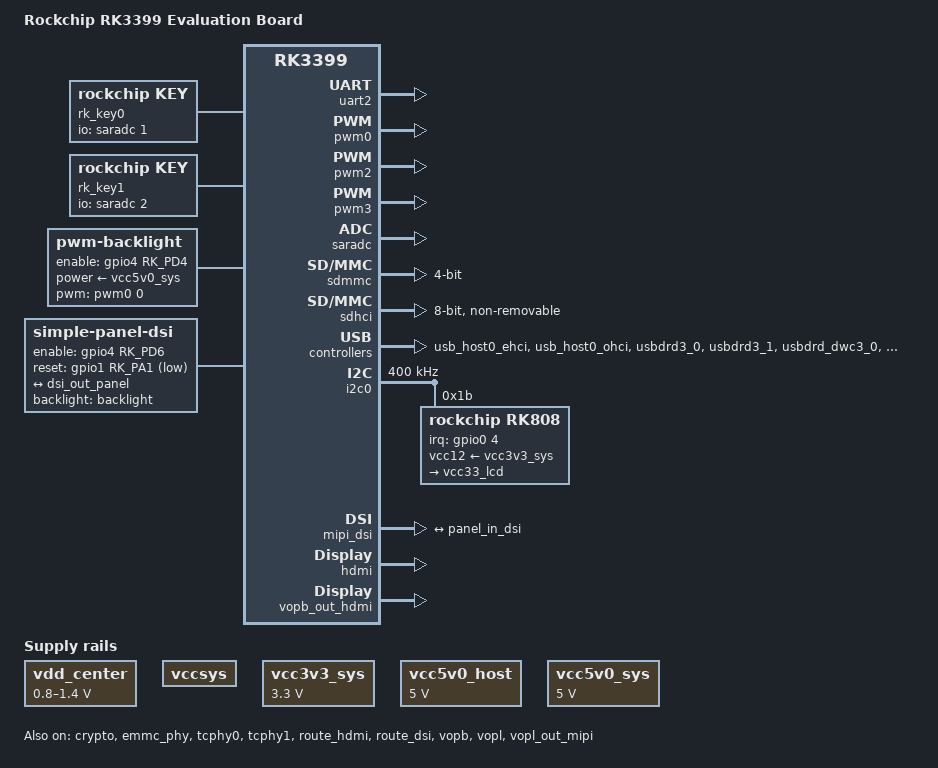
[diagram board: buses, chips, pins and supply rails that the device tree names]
/*
 * (C) Copyright 2016 Rockchip Electronics Co., Ltd
 *
 * SPDX-License-Identifier:     GPL-2.0+
 */

/dts-v1/;
#include <dt-bindings/pwm/pwm.h>
#include <dt-bindings/pinctrl/rockchip.h>
#include "rk3399.dtsi"
#include "rk3399-sdram-lpddr3-4GB-1600.dtsi"
#include "rk3399-u-boot.dtsi"
#include <linux/media-bus-format.h>
#include <dt-bindings/media/rockchip_mipi_dsi.h>
#include <dt-bindings/input/input.h>

/ {
	model = "Rockchip RK3399 Evaluation Board";
	compatible = "rockchip,rk3399-evb", "rockchip,rk3399",
		     "google,rk3399evb-rev2";

	/* RK3399 evb board */
	rk_key0 {
		u-boot,dm-pre-reloc;
		compatible = "rockchip,key";
		status = "okay";
		io-channels = <&saradc 1>;

		vol-up-key0 {
			u-boot,dm-pre-reloc;
			linux,code = <KEY_VOLUMEUP>;
			label = "volume up";
			rockchip,adc_value = <1>;
		};
	};

	/* RK3399PRO evb board */
	rk_key1 {
		u-boot,dm-pre-reloc;
		compatible = "rockchip,key";
		status = "okay";
		io-channels = <&saradc 2>;

		vol-up-key1 {
			u-boot,dm-pre-reloc;
			linux,code = <KEY_VOLUMEUP>;
			label = "volume up";
			rockchip,adc_value = <10>;
		};
	};

	vdd_center: vdd-center {
		compatible = "pwm-regulator";
		pwms = <&pwm3 0 25000 1>;
		regulator-name = "vdd_center";
		regulator-min-microvolt = <800000>;
		regulator-max-microvolt = <1400000>;
		regulator-init-microvolt = <950000>;
		regulator-always-on;
		regulator-boot-on;
		status = "okay";
	};

	vccsys: vccsys {
		compatible = "regulator-fixed";
		regulator-name = "vccsys";
		regulator-boot-on;
		regulator-always-on;
	};

	vcc3v3_sys: vcc3v3-sys {
		compatible = "regulator-fixed";
		regulator-name = "vcc3v3_sys";
		regulator-always-on;
		regulator-boot-on;
		regulator-min-microvolt = <3300000>;
		regulator-max-microvolt = <3300000>;
	};

	vcc5v0_host: vcc5v0-host-en {
		compatible = "regulator-fixed";
		regulator-name = "vcc5v0_host";
		regulator-always-on;
		regulator-boot-on;
		regulator-min-microvolt = <5000000>;
		regulator-max-microvolt = <5000000>;
	};

	backlight: backlight {
		compatible = "pwm-backlight";
		power-supply = <&vcc5v0_sys>;
		enable-gpios = <&gpio4 RK_PD4 GPIO_ACTIVE_HIGH>;
		brightness-levels = <
			  0   1   2   3   4   5   6   7
			  8   9  10  11  12  13  14  15
			 16  17  18  19  20  21  22  23
			 24  25  26  27  28  29  30  31
			 32  33  34  35  36  37  38  39
			 40  41  42  43  44  45  46  47
			 48  49  50  51  52  53  54  55
			 56  57  58  59  60  61  62  63
			 64  65  66  67  68  69  70  71
			 72  73  74  75  76  77  78  79
			 80  81  82  83  84  85  86  87
			 88  89  90  91  92  93  94  95
			 96  97  98  99 100 101 102 103
			104 105 106 107 108 109 110 111
			112 113 114 115 116 117 118 119
			120 121 122 123 124 125 126 127
			128 129 130 131 132 133 134 135
			136 137 138 139 140 141 142 143
			144 145 146 147 148 149 150 151
			152 153 154 155 156 157 158 159
			160 161 162 163 164 165 166 167
			168 169 170 171 172 173 174 175
			176 177 178 179 180 181 182 183
			184 185 186 187 188 189 190 191
			192 193 194 195 196 197 198 199
			200 201 202 203 204 205 206 207
			208 209 210 211 212 213 214 215
			216 217 218 219 220 221 222 223
			224 225 226 227 228 229 230 231
			232 233 234 235 236 237 238 239
			240 241 242 243 244 245 246 247
			248 249 250 251 252 253 254 255>;
		default-brightness-level = <200>;
		pwms = <&pwm0 0 25000 0>;
		status = "disabled";
	};

	vcc5v0_sys: vcc5v0-sys {
		compatible = "regulator-fixed";
		regulator-name = "vcc5v0_sys";
		regulator-always-on;
		regulator-boot-on;
		regulator-min-microvolt = <5000000>;
		regulator-max-microvolt = <5000000>;
	};

	panel: panel {
		compatible = "simple-panel-dsi";
		reg = <0>;
		backlight = <&backlight>;
		enable-gpios = <&gpio4 RK_PD6 GPIO_ACTIVE_HIGH>;
		reset-gpios = <&gpio1 RK_PA1 GPIO_ACTIVE_LOW>;
		pinctrl-names = "default";
		pinctrl-0 = <&lcd_enable_gpio>, <&lcd_rst_gpio>;

		prepare-delay-ms = <120>;
		reset-delay-ms = <120>;
		init-delay-ms = <120>;
		stbyb-delay-ms = <120>;
		enable-delay-ms = <120>;
		disable-delay-ms = <120>;
		unprepare-delay-ms = <120>;
		width-mm = <229>;
		height-mm = <143>;
		dsi,flags = <(
			MIPI_DSI_MODE_VIDEO |
			MIPI_DSI_MODE_VIDEO_BURST |
			MIPI_DSI_MODE_LPM |
			MIPI_DSI_MODE_EOT_PACKET
		)>;
		dsi,format = <MIPI_DSI_FMT_RGB888>;
		dsi,lanes  = <4>;

		panel-init-sequence = [
			15 00 02 80 AC
			15 00 02 81 B8
			15 00 02 82 09
			15 00 02 83 78
			15 00 02 84 7F
			15 00 02 85 BB
			15 00 02 86 70
			05 78 01 11
			05 1E 01 29
		];

		panel-exit-sequence = [
			05 00 01 28
			05 00 01 10
		];

		ports {
			panel_in_dsi: endpoint {
				remote-endpoint = <&dsi_out_panel>;
			};
		};
	};
};

&crypto {
	status = "okay";
};

&uart2 {
	status = "okay";
};

&emmc_phy {
	status = "okay";
};

&pwm0 {
	status = "okay";
};

&pwm2 {
	status = "okay";
};

&pwm3 {
	status = "okay";
};

&saradc {
	status = "okay";
};

&sdmmc {
	bus-width = <4>;
	status = "okay";
};

&sdhci {
	bus-width = <8>;
	mmc-hs400-1_8v;
	mmc-hs400-enhanced-strobe;
	non-removable;
	status = "okay";
};

&tcphy0 {
	status = "okay";
};

&tcphy1 {
	status = "okay";
};

&usb_host0_ehci {
	status = "okay";
};

&usb_host0_ohci {
	status = "okay";
};

&usbdrd3_0 {
	status = "okay";
};

&usbdrd3_1 {
	status = "okay";
};

&usbdrd_dwc3_0 {
	status = "okay";
};

&usbdrd_dwc3_1 {
	status = "okay";
};

&usb_host1_ehci {
	status = "okay";
};

&usb_host1_ohci {
	status = "okay";
};

&i2c0 {
	status = "okay";
	clock-frequency = <400000>;
	i2c-scl-falling-time-ns = <50>;
	i2c-scl-rising-time-ns = <100>;

	rk808: pmic@1b {
		compatible = "rockchip,rk808";
		clock-output-names = "xin32k", "wifibt_32kin";
		interrupt-parent = <&gpio0>;
		interrupts = <4 IRQ_TYPE_LEVEL_LOW>;
		pinctrl-names = "default";
		pinctrl-0 = <&pmic_int_l>;
		reg = <0x1b>;
		rockchip,system-power-controller;
		#clock-cells = <1>;
		status = "okay";

		vcc12-supply = <&vcc3v3_sys>;

		regulators {
			vcc33_lcd: SWITCH_REG2 {
				regulator-always-on;
				regulator-boot-on;
				regulator-name = "vcc33_lcd";
			};
		};
	};
};

&mipi_dsi {
	status = "okay";
	rockchip,panel = <&panel>;

	display-timings {
		native-mode = <&dsi0_timing0>;

		dsi0_timing0: timing0 {
			clock-frequency = <34000000>;
			hactive = <1024>;
			vactive = <600>;
			hfront-porch = <60>;
			hsync-len = <10>;
			hback-porch = <60>;
			vfront-porch = <6>;
			vsync-len = <10>;
			vback-porch = <8>;
			hsync-active = <10>;
			vsync-active = <10 >;
			de-active = <0>;
			pixelclk-active = <1>;
		};
	};

	ports {
		dsi_out_panel: endpoint {
			remote-endpoint = <&panel_in_dsi>;
		};
	};
};

&pinctrl {
	pmic {
		pmic_int_l: pmic-int-l {
			rockchip,pins =
				<1 21 RK_FUNC_GPIO &pcfg_pull_up>;
		};

		pmic_dvs2: pmic-dvs2 {
			rockchip,pins =
				<1 18 RK_FUNC_GPIO &pcfg_pull_down>;
		};
	};

	lcd {
		lcd_enable_gpio: lcd-enable-gpio {
			rockchip,pins =
				<4 RK_PD6 RK_FUNC_GPIO &pcfg_pull_none>;
		};

		lcd_rst_gpio: lcd-rst-gpio {
			rockchip,pins =
				<1 RK_PA1 RK_FUNC_GPIO &pcfg_pull_none>;
		};
	};
};

&gmac {
	status = "disabled";
};

&backlight {
	status = "okay";
	enable-gpios = <&gpio4 RK_PD4 GPIO_ACTIVE_HIGH>;
};

&hdmi {
	status = "okay";
};

&route_hdmi {
	status = "okay";
};

&route_dsi {
	status = "okay";
};

&edp {
	status = "disabled";
};

&vopb {
	status = "okay";
};

&vopb_out_hdmi {
	status = "okay";
};

&vopb_out_edp {
	status = "disabled";
};

&vopb_out_mipi {
	status = "disabled";
};

&vopl {
	status = "okay";
};

&vopl_out_mipi {
	status = "okay";
};

&vopl_out_hdmi {
	status = "disabled";
};

&vopl_out_edp {
	status = "disabled";
};

&cru {
	u-boot,dm-pre-reloc;
};

&grf {
	u-boot,dm-pre-reloc;
};

&pmugrf {
	u-boot,dm-pre-reloc;
};
